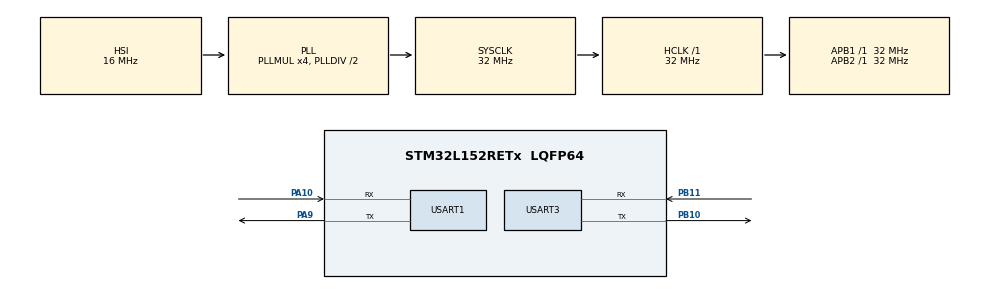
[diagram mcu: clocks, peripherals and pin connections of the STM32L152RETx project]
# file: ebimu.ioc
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Mcu.Family=STM32L1
Mcu.Name=STM32L152RETx
Mcu.Package=LQFP64
NVIC.PriorityGroup=NVIC_PRIORITYGROUP_4
PA10.Mode=Asynchronous
PA10.Signal=USART1_RX
PA13.Mode=Serial_Wire
PA13.Signal=SYS_JTMS-SWDIO
PA14.Mode=Serial_Wire
PA14.Signal=SYS_JTCK-SWCLK
PA9.Mode=Asynchronous
PA9.Signal=USART1_TX
PB10.Mode=Asynchronous
PB10.Signal=USART3_TX
PB11.Mode=Asynchronous
PB11.Signal=USART3_RX
ProjectManager.HeapSize=0x200
ProjectManager.StackSize=0x400
ProjectManager.TargetToolchain=STM32CubeIDE
RCC.48MHZClocksFreq_Value=32000000
RCC.AHBFreq_Value=32000000
RCC.APB1Freq_Value=32000000
RCC.APB1TimFreq_Value=32000000
RCC.APB2Freq_Value=32000000
RCC.APB2TimFreq_Value=32000000
RCC.HCLKFreq_Value=32000000
RCC.HSE_VALUE=24000000
RCC.HSI_VALUE=16000000
RCC.LSE_VALUE=32768
RCC.MSI_VALUE=2097000
RCC.PLLMUL=RCC_PLL_MUL4
RCC.SYSCLKFreq_VALUE=32000000
RCC.SYSCLKSource=RCC_SYSCLKSOURCE_PLLCLK
RCC.VCOOutputFreq_Value=64000000
USART1.VirtualMode=VM_ASYNC
USART3.VirtualMode=VM_ASYNC
VP_CRC_VS_CRC.Mode=CRC_Activate
board=custom

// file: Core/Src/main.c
/* USER CODE BEGIN Header */
/**
  ******************************************************************************
  * @file           : main.c
  * @brief          : Main program body
  ******************************************************************************
  * @attention
  *
  * Copyright (c) 2025 STMicroelectronics.
  * All rights reserved.
  *
  * This software is licensed under terms that can be found in the LICENSE file
  * in the root directory of this software component.
  * If no LICENSE file comes with this software, it is provided AS-IS.
  *
  ******************************************************************************
  */
/* USER CODE END Header */
#include "main.h"
#include "crc.h"
#include "usart.h"
#include "gpio.h"

/* USER CODE BEGIN Includes */
#include <stdio.h>
#include <string.h>
/* USER CODE END Includes */

/* USER CODE BEGIN PD */
uint8_t cnt=0;
/* USER CODE END PD */

void SystemClock_Config(void);

int main(void)
{

  /* MCU Configuration--------------------------------------------------------*/

  /* Reset of all peripherals, Initializes the Flash interface and the Systick. */
  HAL_Init();

  /* Configure the system clock */
  SystemClock_Config();

  /* Initialize all configured peripherals */
  MX_GPIO_Init();
  MX_USART1_UART_Init();
  MX_CRC_Init();
  MX_USART3_UART_Init();

  /* Infinite loop */
  /* USER CODE BEGIN WHILE */
  while (1)
  {
	char Data[100]={0,};
	char rxcommand[4]={0,};
	char txcommand[6]={0,};
	uint8_t byteData=0;
	uint8_t c=0;

	HAL_UART_Receive(&huart1, &byteData, 1, 10);
	if(byteData=='*'){
		Data[c++]=byteData;
		while(byteData!='\n'){
			HAL_UART_Receive(&huart1, &byteData, 1, 10);
			Data[c++]=byteData;
		}
		HAL_UART_Transmit(&huart3, (uint8_t*)Data, strlen(Data), 10);
	}

	byteData=0;
	c=0;

	HAL_UART_Receive(&huart3, &byteData, 1, 300);
	if(byteData!=0){
		rxcommand[c++]=byteData;
		while(!HAL_UART_Receive(&huart3, &byteData, 1, 10))
			rxcommand[c++]=byteData;
		sprintf(txcommand, "<%s>", rxcommand);
		HAL_UART_Transmit(&huart1, (uint8_t*)txcommand, strlen(txcommand), 10);
	}
	/* USER CODE END WHILE */

  }
}

void SystemClock_Config(void)
{
  RCC_OscInitTypeDef RCC_OscInitStruct = {0};
  RCC_ClkInitTypeDef RCC_ClkInitStruct = {0};

  /** Configure the main internal regulator output voltage
  */
  __HAL_PWR_VOLTAGESCALING_CONFIG(PWR_REGULATOR_VOLTAGE_SCALE1);

  /** Initializes the RCC Oscillators according to the specified parameters
  * in the RCC_OscInitTypeDef structure.
  */
  RCC_OscInitStruct.OscillatorType = RCC_OSCILLATORTYPE_HSI;
  RCC_OscInitStruct.HSIState = RCC_HSI_ON;
  RCC_OscInitStruct.HSICalibrationValue = RCC_HSICALIBRATION_DEFAULT;
  RCC_OscInitStruct.PLL.PLLState = RCC_PLL_ON;
  RCC_OscInitStruct.PLL.PLLSource = RCC_PLLSOURCE_HSI;
  RCC_OscInitStruct.PLL.PLLMUL = RCC_PLL_MUL4;
  RCC_OscInitStruct.PLL.PLLDIV = RCC_PLL_DIV2;
  if (HAL_RCC_OscConfig(&RCC_OscInitStruct) != HAL_OK)
  {
    Error_Handler();
  }

  /** Initializes the CPU, AHB and APB buses clocks
  */
  RCC_ClkInitStruct.ClockType = RCC_CLOCKTYPE_HCLK|RCC_CLOCKTYPE_SYSCLK
                              |RCC_CLOCKTYPE_PCLK1|RCC_CLOCKTYPE_PCLK2;
  RCC_ClkInitStruct.SYSCLKSource = RCC_SYSCLKSOURCE_PLLCLK;
  RCC_ClkInitStruct.AHBCLKDivider = RCC_SYSCLK_DIV1;
  RCC_ClkInitStruct.APB1CLKDivider = RCC_HCLK_DIV1;
  RCC_ClkInitStruct.APB2CLKDivider = RCC_HCLK_DIV1;

  if (HAL_RCC_ClockConfig(&RCC_ClkInitStruct, FLASH_LATENCY_1) != HAL_OK)
  {
    Error_Handler();
  }
}

void Error_Handler(void)
{
  __disable_irq();
  while (1)
  {
  }
}
